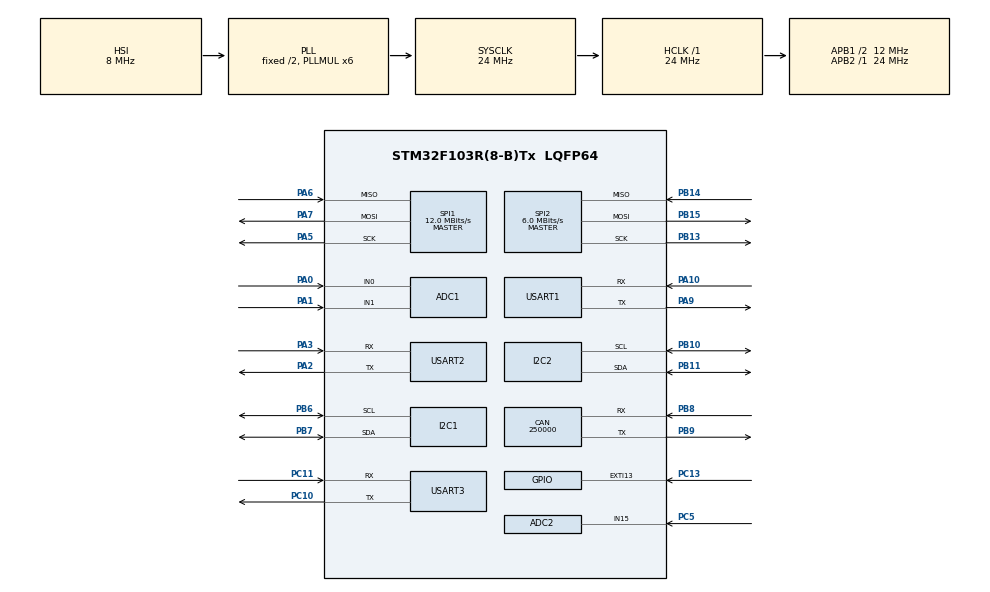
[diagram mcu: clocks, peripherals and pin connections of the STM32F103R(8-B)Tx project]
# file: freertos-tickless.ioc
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ADC1.Channel-0\#ChannelRegularConversion=ADC_CHANNEL_0
ADC1.ContinuousConvMode=DISABLE
ADC1.EnableAnalogWatchDog=false
ADC1.NbrOfConversion=1
ADC1.NbrOfConversionFlag=1
ADC1.Rank-0\#ChannelRegularConversion=1
ADC1.SamplingTime-0\#ChannelRegularConversion=ADC_SAMPLETIME_7CYCLES_5
ADC1.master=1
ADC2.Channel-0\#ChannelRegularConversion=ADC_CHANNEL_15
ADC2.ContinuousConvMode=ENABLE
ADC2.NbrOfConversionFlag=1
ADC2.Rank-0\#ChannelRegularConversion=1
ADC2.SamplingTime-0\#ChannelRegularConversion=ADC_SAMPLETIME_1CYCLE_5
CAN.CalculateBaudRate=250000
CAN.CalculateTimeBit=4000
CAN.CalculateTimeQuantum=1333.3333333333333
FREERTOS.Tasks01=defaultTask,0,128,StartDefaultTask,Default,NULL,Dynamic,NULL,NULL
FREERTOS.configUSE_NEWLIB_REENTRANT=1
FREERTOS.configUSE_TICKLESS_IDLE=1
Mcu.Family=STM32F1
Mcu.Name=STM32F103R(8-B)Tx
Mcu.Package=LQFP64
NVIC.EXTI15_10_IRQn=true\:5\:0\:false\:false\:true\:true\:true\:true\:true
NVIC.PriorityGroup=NVIC_PRIORITYGROUP_4
NVIC.TIM4_IRQn=true\:15\:0\:false\:false\:true\:false\:false\:true\:true
NVIC.TimeBase=TIM4_IRQn
NVIC.TimeBaseIP=TIM4
PA0-WKUP.Signal=ADCx_IN0
PA1.Signal=ADCx_IN1
PA10.Mode=Asynchronous
PA10.Signal=USART1_RX
PA13.GPIO_Label=TMS
PA13.Mode=Serial_Wire
PA13.Signal=SYS_JTMS-SWDIO
PA14.GPIO_Label=TCK
PA14.Mode=Serial_Wire
PA14.Signal=SYS_JTCK-SWCLK
PA2.Mode=Asynchronous
PA2.Signal=USART2_TX
PA3.Mode=Asynchronous
PA3.Signal=USART2_RX
PA5.Mode=Full_Duplex_Master
PA5.Signal=SPI1_SCK
PA6.Mode=Full_Duplex_Master
PA6.Signal=SPI1_MISO
PA7.Mode=Full_Duplex_Master
PA7.Signal=SPI1_MOSI
PA9.Mode=Asynchronous
PA9.Signal=USART1_TX
PB10.Mode=I2C
PB10.Signal=I2C2_SCL
PB11.Mode=I2C
PB11.Signal=I2C2_SDA
PB13.Mode=Full_Duplex_Master
PB13.Signal=SPI2_SCK
PB14.Mode=Full_Duplex_Master
PB14.Signal=SPI2_MISO
PB15.Mode=Full_Duplex_Master
PB15.Signal=SPI2_MOSI
PB3.GPIO_Label=SWO
PB3.Signal=SYS_JTDO-TRACESWO
PB6.Mode=I2C
PB6.Signal=I2C1_SCL
PB7.Mode=I2C
PB7.Signal=I2C1_SDA
PB8.Mode=CAN_Activate
PB8.Signal=CAN_RX
PB9.Mode=CAN_Activate
PB9.Signal=CAN_TX
PC10.Mode=Asynchronous
PC10.Signal=USART3_TX
PC11.Mode=Asynchronous
PC11.Signal=USART3_RX
PC13-TAMPER-RTC.Signal=GPXTI13
PC14-OSC32_IN.Mode=LSE-External-Oscillator
PC14-OSC32_IN.Signal=RCC_OSC32_IN
PC15-OSC32_OUT.Mode=LSE-External-Oscillator
PC15-OSC32_OUT.Signal=RCC_OSC32_OUT
PC5.Signal=ADCx_IN15
PD0-OSC_IN.Mode=HSE-External-Clock-Source
PD0-OSC_IN.Signal=RCC_OSC_IN
PD1-OSC_OUT.Mode=HSE-External-Clock-Source
PD1-OSC_OUT.Signal=RCC_OSC_OUT
ProjectManager.HeapSize=0x200
ProjectManager.StackSize=0x400
ProjectManager.TargetToolchain=STM32CubeIDE
RCC.AHBFreq_Value=24000000
RCC.APB1CLKDivider=RCC_HCLK_DIV2
RCC.APB1Freq_Value=12000000
RCC.APB1TimFreq_Value=24000000
RCC.APB2Freq_Value=24000000
RCC.APB2TimFreq_Value=24000000
RCC.HCLKFreq_Value=24000000
RCC.PLLMUL=RCC_PLL_MUL6
RCC.RTCClockSelection=RCC_RTCCLKSOURCE_LSE
RCC.SYSCLKFreq_VALUE=24000000
RCC.SYSCLKSource=RCC_SYSCLKSOURCE_PLLCLK
RCC.USBFreq_Value=24000000
SH.ADCx_IN0.0=ADC1_IN0,IN0
SH.ADCx_IN1.0=ADC1_IN1,IN1
SH.ADCx_IN15.0=ADC2_IN15,IN15
SPI1.CalculateBaudRate=12.0 MBits/s
SPI1.Direction=SPI_DIRECTION_2LINES
SPI1.Mode=SPI_MODE_MASTER
SPI1.VirtualType=VM_MASTER
SPI2.CalculateBaudRate=6.0 MBits/s
SPI2.Direction=SPI_DIRECTION_2LINES
SPI2.Mode=SPI_MODE_MASTER
SPI2.VirtualType=VM_MASTER
TIM1.AutoReloadPreload=TIM_AUTORELOAD_PRELOAD_ENABLE
TIM2.AutoReloadPreload=TIM_AUTORELOAD_PRELOAD_ENABLE
TIM3.AutoReloadPreload=TIM_AUTORELOAD_PRELOAD_ENABLE
USART1.VirtualMode=VM_ASYNC
USART2.VirtualMode=VM_ASYNC
USART3.VirtualMode=VM_ASYNC
VP_FREERTOS_VS_CMSIS_V1.Mode=CMSIS_V1
VP_SYS_VS_tim4.Mode=TIM4
VP_TIM1_VS_ClockSourceINT.Mode=Internal
VP_TIM2_VS_ClockSourceINT.Mode=Internal
VP_TIM3_VS_ClockSourceINT.Mode=Internal
board=NUCLEO-F103RB

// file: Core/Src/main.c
/* USER CODE BEGIN Header */
/**
  ******************************************************************************
  * @file           : main.c
  * @brief          : Main program body
  ******************************************************************************
  * @attention
  *
  * Copyright (c) 2024 STMicroelectronics.
  * All rights reserved.
  *
  * This software is licensed under terms that can be found in the LICENSE file
  * in the root directory of this software component.
  * If no LICENSE file comes with this software, it is provided AS-IS.
  *
  ******************************************************************************
  */

/* USER CODE END Header */
#include "main.h"
#include "cmsis_os.h"

/* USER CODE BEGIN Includes */
#include <stdio.h>
#include <string.h>
/* USER CODE END Includes */

ADC_HandleTypeDef hadc1;
ADC_HandleTypeDef hadc2;

CAN_HandleTypeDef hcan;

I2C_HandleTypeDef hi2c1;
I2C_HandleTypeDef hi2c2;

SPI_HandleTypeDef hspi1;
SPI_HandleTypeDef hspi2;

TIM_HandleTypeDef htim1;
TIM_HandleTypeDef htim2;
TIM_HandleTypeDef htim3;

UART_HandleTypeDef huart1;
UART_HandleTypeDef huart2;
UART_HandleTypeDef huart3;

osThreadId defaultTaskHandle;

void SystemClock_Config(void);
static void MX_GPIO_Init(void);
static void MX_USART1_UART_Init(void);
static void MX_ADC1_Init(void);
static void MX_ADC2_Init(void);
static void MX_CAN_Init(void);
static void MX_I2C1_Init(void);
static void MX_I2C2_Init(void);
static void MX_SPI1_Init(void);
static void MX_SPI2_Init(void);
static void MX_TIM1_Init(void);
static void MX_TIM2_Init(void);
static void MX_TIM3_Init(void);
static void MX_USART2_UART_Init(void);
static void MX_USART3_UART_Init(void);
void StartDefaultTask(void const * argument);

/* USER CODE BEGIN PFP */
#ifdef __GNUC__
#define PUTCHAR_PROTOTYPE int __io_putchar(int ch)
#else
#define PUTCHAR_PROTOTYPE int fputc(int ch, FILE *f)
#endif

PUTCHAR_PROTOTYPE
{
  HAL_UART_Transmit(&huart1, (uint8_t *)&ch, 1, HAL_MAX_DELAY);
  return ch;
}

/* USER CODE END PFP */

/* USER CODE BEGIN 0 */

uint16_t source_V_q;
uint16_t mcu_V_q;
uint16_t shunt_resistor_V_q;
uint16_t shunt_resistor_mV;
uint16_t mcu_mV;

uint16_t circuit_mA;

uint16_t mcu_mW;
uint16_t shunt_resistor_uW;

char UART1_rxBuffer[3] = {0};
const uint32_t CLI_timeout_ms = 100*1000;
const uint32_t delay_in_test_for_ms = 10*1000;
const uint32_t time_per_periph_ms = 5* 1000;

void HAL_GPIO_EXTI_Callback(uint16_t GPIO_Pin)
{
  HAL_ResumeTick();
}

/**
  * @brief Select ADC1 channel function
  * @param None
  * @retval None
  */
void select_adc_channel(int channel)
{
    ADC_ChannelConfTypeDef sConfig = {0};
    //sConfig.SamplingTime = ADC_SAMPLETIME_15CYCLES;
    sConfig.SamplingTime = ADC_SAMPLETIME_7CYCLES_5;
    switch (channel)
    {
        case 0:
            sConfig.Channel = ADC_CHANNEL_0;
              sConfig.Rank = 1;

              if (HAL_ADC_ConfigChannel(&hadc1, &sConfig) != HAL_OK)
              {
                Error_Handler();
              }
              break;

        case 1:
              /** Configure for the selected ADC regular channel its corresponding rank in the sequencer and its sample time.
              */
              sConfig.Channel = ADC_CHANNEL_1;
              sConfig.Rank = 1;
              if (HAL_ADC_ConfigChannel(&hadc1, &sConfig) != HAL_OK)
              {
                Error_Handler();
              }
              break;
              /** Configure for the selected ADC regular channel its corresponding rank in the sequencer and its sample time.
              */
        case 2:
              sConfig.Channel = ADC_CHANNEL_2;
              sConfig.Rank = 1;
              if (HAL_ADC_ConfigChannel(&hadc1, &sConfig) != HAL_OK)
              {
                Error_Handler();
              }
              break;
              /** Configure for the selected ADC regular channel its corresponding rank in the sequencer and its sample time.
              */
        case 3:
              sConfig.Channel = ADC_CHANNEL_3;
              sConfig.Rank = 1;
              if (HAL_ADC_ConfigChannel(&hadc1, &sConfig) != HAL_OK)
              {
                Error_Handler();
              }
              break;
              /** Configure for the selected ADC regular channel its corresponding rank in the sequencer and its sample time.
              */
        case 4:
              sConfig.Channel = ADC_CHANNEL_4;
              sConfig.Rank = 1;
              if (HAL_ADC_ConfigChannel(&hadc1, &sConfig) != HAL_OK)
              {
                Error_Handler();
              }
              break;
              /** Configure for the selected ADC regular channel its corresponding rank in the sequencer and its sample time.
              */
        case 5:
              sConfig.Channel = ADC_CHANNEL_5;
              sConfig.Rank = 1;
              if (HAL_ADC_ConfigChannel(&hadc1, &sConfig) != HAL_OK)
              {
                Error_Handler();
              }
              break;
              /** Configure for the selected ADC regular channel its corresponding rank in the sequencer and its sample time.
              */
        case 6:
              sConfig.Channel = ADC_CHANNEL_6;
              sConfig.Rank = 1;
              if (HAL_ADC_ConfigChannel(&hadc1, &sConfig) != HAL_OK)
              {
                Error_Handler();
              }
              break;
              /** Configure for the selected ADC regular channel its corresponding rank in the sequencer and its sample time.
              */
        case 7:
              sConfig.Channel = ADC_CHANNEL_7;
              sConfig.Rank = 1;
              if (HAL_ADC_ConfigChannel(&hadc1, &sConfig) != HAL_OK)
              {
                Error_Handler();
              }
              break;
              /** Configure for the selected ADC regular channel its corresponding rank in the sequencer and its sample time.
              */
        case 8:
              sConfig.Channel = ADC_CHANNEL_8;
              sConfig.Rank = 9;
              if (HAL_ADC_ConfigChannel(&hadc1, &sConfig) != HAL_OK)
              {
                Error_Handler();
              }
              break;
              /** Configure for the selected ADC regular channel its corresponding rank in the sequencer and its sample time.
              */
        case 9:
              sConfig.Channel = ADC_CHANNEL_9;
              sConfig.Rank = 1;
              if (HAL_ADC_ConfigChannel(&hadc1, &sConfig) != HAL_OK)
              {
                Error_Handler();
              }
              break;
              /** Configure for the selected ADC regular channel its corresponding rank in the sequencer and its sample time.
              */
        case 10:
              sConfig.Channel = ADC_CHANNEL_10;
              sConfig.Rank = 1;
              if (HAL_ADC_ConfigChannel(&hadc1, &sConfig) != HAL_OK)
              {
                Error_Handler();
              }
              break;
              /** Configure for the selected ADC regular channel its corresponding rank in the sequencer and its sample time.
              */
        case 11:
              sConfig.Channel = ADC_CHANNEL_11;
              sConfig.Rank = 1;
              if (HAL_ADC_ConfigChannel(&hadc1, &sConfig) != HAL_OK)
              {
                Error_Handler();
              }
              break;
              /** Configure for the selected ADC regular channel its corresponding rank in the sequencer and its sample time.
              */
        case 12:
              sConfig.Channel = ADC_CHANNEL_12;
              sConfig.Rank = 1;
              if (HAL_ADC_ConfigChannel(&hadc1, &sConfig) != HAL_OK)
              {
                Error_Handler();
              }
              break;
              /** Configure for the selected ADC regular channel its corresponding rank in the sequencer and its sample time.
              */
        case 13:
              sConfig.Channel = ADC_CHANNEL_13;
              sConfig.Rank = 1;
              if (HAL_ADC_ConfigChannel(&hadc1, &sConfig) != HAL_OK)
              {
                Error_Handler();
              }
              break;
              /** Configure for the selected ADC regular channel its corresponding rank in the sequencer and its sample time.
              */
        case 14:
              sConfig.Channel = ADC_CHANNEL_14;
              sConfig.Rank = 1;
              if (HAL_ADC_ConfigChannel(&hadc1, &sConfig) != HAL_OK)
              {
                Error_Handler();
              }
              break;
        case 15:
              sConfig.Channel = ADC_CHANNEL_15;
              sConfig.Rank = 1;
              if (HAL_ADC_ConfigChannel(&hadc1, &sConfig) != HAL_OK)
              {
                Error_Handler();
              }
              break;
        default:
            break;
    }
}

void print_pwr(void) {

	  printf("-------------------------------\r\n");
	  for (uint16_t i = 0; i < 2; i++) {

			  select_adc_channel(i);
			  // Get each ADC value from the group (2 channels in this case)
			  HAL_ADC_Start(&hadc1);
			  // Wait for regular group conversion to be completed
			  HAL_ADC_PollForConversion(&hadc1, HAL_MAX_DELAY);

			  if (i == 0) {
				  source_V_q = HAL_ADC_GetValue(&hadc1);
				  printf("Quantized Source Voltage [%u] value: %u [unitless]\r\n", (uint16_t) i, (uint16_t) source_V_q);
			  } else if (i == 1) {
				  mcu_V_q = HAL_ADC_GetValue(&hadc1);
				  printf("Quantized MCU Voltage [%u] value: %u [unitless]\r\n", (uint16_t) i, (uint16_t) mcu_V_q);
			  }
		  }

		  shunt_resistor_V_q = source_V_q - mcu_V_q;
		  shunt_resistor_mV = (uint16_t) (((float) (shunt_resistor_V_q * 1000)) / 4095.0) * 3.3;
		  mcu_mV = (uint16_t) (((float) (mcu_V_q * 1000)) / 4095.0) * 3.3;

		  printf("shunt resistor voltage: %u [mV]\r\n", shunt_resistor_mV);
		  printf("mcu voltage: %u [mV]\r\n", mcu_mV);

		  // since 1 ohm (assumed constant) shunt resistor
		  // I = V / R
		  // I = V
		  circuit_mA = shunt_resistor_mV;
		  printf("Circuit current: %u [mA]\r\n", circuit_mA);

		  mcu_mW = circuit_mA * (mcu_mV / 1000);

		  shunt_resistor_uW = circuit_mA * (shunt_resistor_mV);

		  printf("shunt resistor power: %u [uW]\r\n", shunt_resistor_uW);
		  printf("mcu power: %u [mW]\r\n", mcu_mW);

}

void print_help(void) {
	printf("Help: \r\n");
	printf("    max : power consumption test enabling all clocks and peripherals\r\n");
	printf("    typ : power consumption test for this program: USART1, ADC1, TIM3\r\n");
	printf("    min : power consumption test all peripherals disabled (except TIM4), only CPU enabled CANNOT GATHER INFO IN THIS MODE\r\n");
	printf("    pwr : free-running print of power readings\r\n");
	printf("    ver : print version info\r\n");
	printf("    hel : this message\r\n");
	printf("    sle : enter sleep mode\r\n");
	printf("    sto : enter stop mode\r\n");
	printf("    sta : enter standby mode\r\n");

}

void print_version(void) {
	printf("Version: REV B April 1th, 2024\r\n");
}

// power consumption test enabling all clocks and peripherals
void test_max(void) {
	printf("Entering typical test mode, ensure external power meter connected. Each periph will delay for %lu ms\r\n", time_per_periph_ms);

	MX_GPIO_Init();
	printf("GPIO INIT\r\n");
	HAL_Delay(time_per_periph_ms);

	MX_USART1_UART_Init();
	printf("USART1 INIT\r\n");
	HAL_Delay(time_per_periph_ms);

	MX_ADC1_Init();
	printf("ADC1 INIT\r\n");
	HAL_Delay(time_per_periph_ms);

	MX_ADC2_Init();
	printf("ADC2 INIT\r\n");
	HAL_Delay(time_per_periph_ms);

	MX_CAN_Init();
	printf("CANBUS INIT\r\n");
	HAL_Delay(time_per_periph_ms);

	MX_I2C1_Init();
	printf("I2C1 INIT\r\n");
	HAL_Delay(time_per_periph_ms);

	MX_I2C2_Init();
	printf("I2C2 INIT\r\n");
	HAL_Delay(time_per_periph_ms);

	MX_SPI1_Init();
	printf("SPI1 INIT\r\n");
	HAL_Delay(time_per_periph_ms);

	MX_SPI2_Init();
	printf("SPI2 INIT\r\n");
	HAL_Delay(time_per_periph_ms);

	MX_TIM1_Init();
	printf("TIM1 INIT\r\n");
	HAL_Delay(time_per_periph_ms);

	MX_TIM2_Init();
	printf("TIM2 INIT\r\n");
	HAL_Delay(time_per_periph_ms);

	MX_TIM3_Init();
	printf("TIM3 INIT\r\n");
	HAL_Delay(time_per_periph_ms);

	MX_USART2_UART_Init();
	printf("USART2 INIT\r\n");
	HAL_Delay(time_per_periph_ms);

	MX_USART3_UART_Init();
	printf("USART3 INIT\r\n");
	HAL_Delay(time_per_periph_ms);

	printf("DeINIT non typical periph\r\n");
	HAL_Delay(time_per_periph_ms);

	HAL_ADC_DeInit(&hadc2);
	HAL_CAN_DeInit(&hcan);
	HAL_I2C_DeInit(&hi2c1);
	HAL_I2C_DeInit(&hi2c2);
	HAL_SPI_DeInit(&hspi1);
	HAL_SPI_DeInit(&hspi2);
	HAL_TIM_Base_DeInit(&htim1);
	HAL_TIM_Base_DeInit(&htim2);
	HAL_TIM_Base_DeInit(&htim3);
	HAL_UART_DeInit(&huart2);
	HAL_UART_DeInit(&huart3);

	printf("Max Test Done\r\n");
}

// power consumption test for this program: USART1, ADC1, TIM3
void test_typ(void) {
	printf("Entering typical test mode, ensure external power meter connected. Each periph will delay for %lu ms\r\n", time_per_periph_ms);
	HAL_Delay(time_per_periph_ms);

	printf("Typical Test Done\r\n");

}

// power consumption test all peripherals disabled, only CPU enabled
void test_min(void) {
	printf("Entering typical minimum mode, ensure external power meter connected. Will auto exit in %lu ms\r\n", delay_in_test_for_ms);
	HAL_Delay(delay_in_test_for_ms);

	HAL_UART_DeInit(&huart1);
	// printf's wont work..
	HAL_Delay(delay_in_test_for_ms);

	HAL_ADC_DeInit(&hadc1);
	HAL_Delay(10*1000);

	MX_GPIO_Init();
	MX_USART1_UART_Init();
	MX_ADC1_Init();

	printf("Minimum Test Done\r\n");

}

void test_pwr(void) {
	printf("Entering free-running power mode, press `q` three times quickly to exit\r\n");
	while (1) {

		print_pwr();
		HAL_UART_Receive (&huart1, (uint8_t*) UART1_rxBuffer, 3, 2000);

		if (strcmp(UART1_rxBuffer, "qqq") == 0) {
			printf("Exiting `pwr` mode\r\n");
			return;

		}
	}

}

// sleep mode implementation details from:
// https://controllerstech.com/low-power-modes-in-stm32/
void test_sleep(void) {
	printf("Entering sleep mode, press blue user button to awake. \r\n\r\n");

	// since the HAL uses TIM4 interrupt for its timebase, disable so we dont wake
	HAL_SuspendTick();

	// enter sleep
	HAL_PWR_EnterSLEEPMode(PWR_MAINREGULATOR_ON, PWR_SLEEPENTRY_WFI);

	// Any interrupt from NVIC will awake MCU, we use EXTI on blue button
	// After servicing that ISR, which re-enabled the HAL tick, we resume here where we left off

	printf("Awoke from sleep\r\n");

}

void test_stop(void) {
	printf("Entering stop mode, press blue user button to awake. \r\n\r\n");

	// since the HAL uses TIM4 interrupt for its timebase, disable so we dont wake
	HAL_SuspendTick();

	// enter stop
	HAL_PWR_EnterSTOPMode(PWR_LOWPOWERREGULATOR_ON, PWR_STOPENTRY_WFI);
	// Any interrupt from NVIC will awake MCU, we use EXTI on blue button
	// After servicing that ISR, which re-enabled the HAL tick, we resume here where we left off

	// Must reconfigure system clocks as they were disabled
	SystemClock_Config();

	printf("Awoke from sleep\r\n");

}

void test_standby(void) {
	printf("Entering standby mode, WKUP pin rising edge, RTC alarm, tamper event, NRST, or IWDG used to reset MCU. \r\n\r\n");

	// since the HAL uses TIM4 interrupt for its timebase, disable so we dont wake
	HAL_SuspendTick();

	/* Clear the WU FLAG */
	__HAL_PWR_CLEAR_FLAG(PWR_FLAG_WU);

	 // consider RTC or wakeup pin config if desired

	// enter standby
	// there is no recovery, think of standby as `shutdown` on a computer. The `wakeup` is a cpu reset
	HAL_PWR_EnterSTANDBYMode();

}
// CLI commands
// max, typ, min, pwr
void read_cli(void) {
	for (uint8_t i = 0; i < 3; i++) {
		UART1_rxBuffer[0] = 0;
	}
	// need to type the command in the timeout
	while(HAL_UART_Receive (&huart1, (uint8_t*) UART1_rxBuffer, 3, CLI_timeout_ms) != HAL_OK);
	printf("Your command: %s\r\n", UART1_rxBuffer);

	if (strcmp(UART1_rxBuffer, "max") == 0) {
		test_max();

	}

	if (strcmp(UART1_rxBuffer, "typ") == 0) {
		test_typ();
	}

	if (strcmp(UART1_rxBuffer, "min") == 0) {
		test_min();

	}

	if (strcmp(UART1_rxBuffer, "pwr") == 0) {
		test_pwr();

	}

	if (strcmp(UART1_rxBuffer, "ver") == 0) {
		print_version();

	}

	if (strcmp(UART1_rxBuffer, "hel") == 0) {
		print_help();

	}

	if (strcmp(UART1_rxBuffer, "sle") == 0) {
		test_sleep();

	}

	if (strcmp(UART1_rxBuffer, "sto") == 0) {
		test_stop();

	}

	if (strcmp(UART1_rxBuffer, "sta") == 0) {
		test_standby();

	}

}

/* USER CODE END 0 */

int main(void)
{
  /* USER CODE BEGIN 1 */
/**
  * @brief The power metering application entry point
  * Text editor settings are maintained by the IDE
  * Development Enviroment: maintained by the IDE
  * Compiler: gcc (Ubuntu 11.4.0-1ubuntu1~22.04) 11.4.0
  * Options: Viewable in File->Preferences->C/C++ Build->Settings
  * Libraries: CMSIS Driver, stm32cube HAL
  * CPU Config: nothing special
  * Version Control: recommended to checkout latest commit in master or latest stable release.
  * @retval int
  */
  /* USER CODE END 1 */

  /* MCU Configuration--------------------------------------------------------*/

  /* Reset of all peripherals, Initializes the Flash interface and the Systick. */
  HAL_Init();

  /* Configure the system clock */
  SystemClock_Config();

  /* Initialize all configured peripherals */
  MX_GPIO_Init();
  MX_USART1_UART_Init();
  MX_ADC1_Init();
  MX_ADC2_Init();
  MX_CAN_Init();
  MX_I2C1_Init();
  MX_I2C2_Init();
  MX_SPI1_Init();
  MX_SPI2_Init();
  MX_TIM1_Init();
  MX_TIM2_Init();
  MX_TIM3_Init();
  MX_USART2_UART_Init();
  MX_USART3_UART_Init();
  /* USER CODE BEGIN 2 */

  // above autogenerated code should not be modified, it will be overwritten on changes
  // for consistency, disable the non-typical periphrials
  HAL_ADC_DeInit(&hadc2);
  HAL_CAN_DeInit(&hcan);
  HAL_I2C_DeInit(&hi2c1);
  HAL_I2C_DeInit(&hi2c2);
  HAL_SPI_DeInit(&hspi1);
  HAL_SPI_DeInit(&hspi2);
  HAL_TIM_Base_DeInit(&htim1);
  HAL_TIM_Base_DeInit(&htim2);
  HAL_TIM_Base_DeInit(&htim3);
  HAL_UART_DeInit(&huart2);
  HAL_UART_DeInit(&huart3);

  // display firmware version+build info
  printf("REV B April 1th, 2024\r\n\r\n");
  printf("Power Consumption CLI\r\n");

  /* USER CODE END 2 */

  /* Create the thread(s) */
  /* definition and creation of defaultTask */
  osThreadDef(defaultTask, StartDefaultTask, osPriorityNormal, 0, 128);
  defaultTaskHandle = osThreadCreate(osThread(defaultTask), NULL);

  /* Start scheduler */
  osKernelStart();

  /* We should never get here as control is now taken by the scheduler */
  /* Infinite loop */
  /* USER CODE BEGIN WHILE */

  // should not get here
  while (1)
  {
    /* USER CODE END WHILE */

  }
}

void SystemClock_Config(void)
{
  RCC_OscInitTypeDef RCC_OscInitStruct = {0};
  RCC_ClkInitTypeDef RCC_ClkInitStruct = {0};
  RCC_PeriphCLKInitTypeDef PeriphClkInit = {0};

  /** Initializes the RCC Oscillators according to the specified parameters
  * in the RCC_OscInitTypeDef structure.
  */
  RCC_OscInitStruct.OscillatorType = RCC_OSCILLATORTYPE_HSI;
  RCC_OscInitStruct.HSIState = RCC_HSI_ON;
  RCC_OscInitStruct.HSICalibrationValue = RCC_HSICALIBRATION_DEFAULT;
  RCC_OscInitStruct.PLL.PLLState = RCC_PLL_ON;
  RCC_OscInitStruct.PLL.PLLSource = RCC_PLLSOURCE_HSI_DIV2;
  RCC_OscInitStruct.PLL.PLLMUL = RCC_PLL_MUL6;
  if (HAL_RCC_OscConfig(&RCC_OscInitStruct) != HAL_OK)
  {
    Error_Handler();
  }

  /** Initializes the CPU, AHB and APB buses clocks
  */
  RCC_ClkInitStruct.ClockType = RCC_CLOCKTYPE_HCLK|RCC_CLOCKTYPE_SYSCLK
                              |RCC_CLOCKTYPE_PCLK1|RCC_CLOCKTYPE_PCLK2;
  RCC_ClkInitStruct.SYSCLKSource = RCC_SYSCLKSOURCE_PLLCLK;
  RCC_ClkInitStruct.AHBCLKDivider = RCC_SYSCLK_DIV1;
  RCC_ClkInitStruct.APB1CLKDivider = RCC_HCLK_DIV2;
  RCC_ClkInitStruct.APB2CLKDivider = RCC_HCLK_DIV1;

  if (HAL_RCC_ClockConfig(&RCC_ClkInitStruct, FLASH_LATENCY_0) != HAL_OK)
  {
    Error_Handler();
  }
  PeriphClkInit.PeriphClockSelection = RCC_PERIPHCLK_ADC;
  PeriphClkInit.AdcClockSelection = RCC_ADCPCLK2_DIV2;
  if (HAL_RCCEx_PeriphCLKConfig(&PeriphClkInit) != HAL_OK)
  {
    Error_Handler();
  }
}

static void MX_ADC1_Init(void)
{

  ADC_ChannelConfTypeDef sConfig = {0};

  /** Common config
  */
  hadc1.Instance = ADC1;
  hadc1.Init.ScanConvMode = ADC_SCAN_DISABLE;
  hadc1.Init.ContinuousConvMode = DISABLE;
  hadc1.Init.DiscontinuousConvMode = DISABLE;
  hadc1.Init.ExternalTrigConv = ADC_SOFTWARE_START;
  hadc1.Init.DataAlign = ADC_DATAALIGN_RIGHT;
  hadc1.Init.NbrOfConversion = 1;
  if (HAL_ADC_Init(&hadc1) != HAL_OK)
  {
    Error_Handler();
  }

  /** Configure Regular Channel
  */
  sConfig.Channel = ADC_CHANNEL_0;
  sConfig.Rank = ADC_REGULAR_RANK_1;
  sConfig.SamplingTime = ADC_SAMPLETIME_7CYCLES_5;
  if (HAL_ADC_ConfigChannel(&hadc1, &sConfig) != HAL_OK)
  {
    Error_Handler();
  }

}

static void MX_ADC2_Init(void)
{

  ADC_ChannelConfTypeDef sConfig = {0};

  /** Common config
  */
  hadc2.Instance = ADC2;
  hadc2.Init.ScanConvMode = ADC_SCAN_DISABLE;
  hadc2.Init.ContinuousConvMode = ENABLE;
  hadc2.Init.DiscontinuousConvMode = DISABLE;
  hadc2.Init.ExternalTrigConv = ADC_SOFTWARE_START;
  hadc2.Init.DataAlign = ADC_DATAALIGN_RIGHT;
  hadc2.Init.NbrOfConversion = 1;
  if (HAL_ADC_Init(&hadc2) != HAL_OK)
  {
    Error_Handler();
  }

  /** Configure Regular Channel
  */
  sConfig.Channel = ADC_CHANNEL_15;
  sConfig.Rank = ADC_REGULAR_RANK_1;
  sConfig.SamplingTime = ADC_SAMPLETIME_1CYCLE_5;
  if (HAL_ADC_ConfigChannel(&hadc2, &sConfig) != HAL_OK)
  {
    Error_Handler();
  }

}

static void MX_CAN_Init(void)
{

  hcan.Instance = CAN1;
  hcan.Init.Prescaler = 16;
  hcan.Init.Mode = CAN_MODE_NORMAL;
  hcan.Init.SyncJumpWidth = CAN_SJW_1TQ;
  hcan.Init.TimeSeg1 = CAN_BS1_1TQ;
  hcan.Init.TimeSeg2 = CAN_BS2_1TQ;
  hcan.Init.TimeTriggeredMode = DISABLE;
  hcan.Init.AutoBusOff = DISABLE;
  hcan.Init.AutoWakeUp = DISABLE;
  hcan.Init.AutoRetransmission = DISABLE;
  hcan.Init.ReceiveFifoLocked = DISABLE;
  hcan.Init.TransmitFifoPriority = DISABLE;
  if (HAL_CAN_Init(&hcan) != HAL_OK)
  {
    Error_Handler();
  }

}

static void MX_I2C1_Init(void)
{

  hi2c1.Instance = I2C1;
  hi2c1.Init.ClockSpeed = 100000;
  hi2c1.Init.DutyCycle = I2C_DUTYCYCLE_2;
  hi2c1.Init.OwnAddress1 = 0;
  hi2c1.Init.AddressingMode = I2C_ADDRESSINGMODE_7BIT;
  hi2c1.Init.DualAddressMode = I2C_DUALADDRESS_DISABLE;
  hi2c1.Init.OwnAddress2 = 0;
  hi2c1.Init.GeneralCallMode = I2C_GENERALCALL_DISABLE;
  hi2c1.Init.NoStretchMode = I2C_NOSTRETCH_DISABLE;
  if (HAL_I2C_Init(&hi2c1) != HAL_OK)
  {
    Error_Handler();
  }

}

static void MX_I2C2_Init(void)
{

  hi2c2.Instance = I2C2;
  hi2c2.Init.ClockSpeed = 100000;
  hi2c2.Init.DutyCycle = I2C_DUTYCYCLE_2;
  hi2c2.Init.OwnAddress1 = 0;
  hi2c2.Init.AddressingMode = I2C_ADDRESSINGMODE_7BIT;
  hi2c2.Init.DualAddressMode = I2C_DUALADDRESS_DISABLE;
  hi2c2.Init.OwnAddress2 = 0;
  hi2c2.Init.GeneralCallMode = I2C_GENERALCALL_DISABLE;
  hi2c2.Init.NoStretchMode = I2C_NOSTRETCH_DISABLE;
  if (HAL_I2C_Init(&hi2c2) != HAL_OK)
  {
    Error_Handler();
  }

}

static void MX_SPI1_Init(void)
{

  /* SPI1 parameter configuration*/
  hspi1.Instance = SPI1;
  hspi1.Init.Mode = SPI_MODE_MASTER;
  hspi1.Init.Direction = SPI_DIRECTION_2LINES;
  hspi1.Init.DataSize = SPI_DATASIZE_8BIT;
  hspi1.Init.CLKPolarity = SPI_POLARITY_LOW;
  hspi1.Init.CLKPhase = SPI_PHASE_1EDGE;
  hspi1.Init.NSS = SPI_NSS_SOFT;
  hspi1.Init.BaudRatePrescaler = SPI_BAUDRATEPRESCALER_2;
  hspi1.Init.FirstBit = SPI_FIRSTBIT_MSB;
  hspi1.Init.TIMode = SPI_TIMODE_DISABLE;
  hspi1.Init.CRCCalculation = SPI_CRCCALCULATION_DISABLE;
  hspi1.Init.CRCPolynomial = 10;
  if (HAL_SPI_Init(&hspi1) != HAL_OK)
  {
    Error_Handler();
  }

}

static void MX_SPI2_Init(void)
{

  /* SPI2 parameter configuration*/
  hspi2.Instance = SPI2;
  hspi2.Init.Mode = SPI_MODE_MASTER;
  hspi2.Init.Direction = SPI_DIRECTION_2LINES;
  hspi2.Init.DataSize = SPI_DATASIZE_8BIT;
  hspi2.Init.CLKPolarity = SPI_POLARITY_LOW;
  hspi2.Init.CLKPhase = SPI_PHASE_1EDGE;
  hspi2.Init.NSS = SPI_NSS_SOFT;
  hspi2.Init.BaudRatePrescaler = SPI_BAUDRATEPRESCALER_2;
  hspi2.Init.FirstBit = SPI_FIRSTBIT_MSB;
  hspi2.Init.TIMode = SPI_TIMODE_DISABLE;
  hspi2.Init.CRCCalculation = SPI_CRCCALCULATION_DISABLE;
  hspi2.Init.CRCPolynomial = 10;
  if (HAL_SPI_Init(&hspi2) != HAL_OK)
  {
    Error_Handler();
  }

}

static void MX_TIM1_Init(void)
{

  TIM_ClockConfigTypeDef sClockSourceConfig = {0};
  TIM_MasterConfigTypeDef sMasterConfig = {0};

  htim1.Instance = TIM1;
  htim1.Init.Prescaler = 0;
  htim1.Init.CounterMode = TIM_COUNTERMODE_UP;
  htim1.Init.Period = 65535;
  htim1.Init.ClockDivision = TIM_CLOCKDIVISION_DIV1;
  htim1.Init.RepetitionCounter = 0;
  htim1.Init.AutoReloadPreload = TIM_AUTORELOAD_PRELOAD_ENABLE;
  if (HAL_TIM_Base_Init(&htim1) != HAL_OK)
  {
    Error_Handler();
  }
  sClockSourceConfig.ClockSource = TIM_CLOCKSOURCE_INTERNAL;
  if (HAL_TIM_ConfigClockSource(&htim1, &sClockSourceConfig) != HAL_OK)
  {
    Error_Handler();
  }
  sMasterConfig.MasterOutputTrigger = TIM_TRGO_RESET;
  sMasterConfig.MasterSlaveMode = TIM_MASTERSLAVEMODE_DISABLE;
  if (HAL_TIMEx_MasterConfigSynchronization(&htim1, &sMasterConfig) != HAL_OK)
  {
    Error_Handler();
  }

}

static void MX_TIM2_Init(void)
{

  TIM_ClockConfigTypeDef sClockSourceConfig = {0};
  TIM_MasterConfigTypeDef sMasterConfig = {0};

  htim2.Instance = TIM2;
  htim2.Init.Prescaler = 0;
  htim2.Init.CounterMode = TIM_COUNTERMODE_UP;
  htim2.Init.Period = 65535;
  htim2.Init.ClockDivision = TIM_CLOCKDIVISION_DIV1;
  htim2.Init.AutoReloadPreload = TIM_AUTORELOAD_PRELOAD_ENABLE;
  if (HAL_TIM_Base_Init(&htim2) != HAL_OK)
  {
    Error_Handler();
  }
  sClockSourceConfig.ClockSource = TIM_CLOCKSOURCE_INTERNAL;
  if (HAL_TIM_ConfigClockSource(&htim2, &sClockSourceConfig) != HAL_OK)
  {
    Error_Handler();
  }
  sMasterConfig.MasterOutputTrigger = TIM_TRGO_RESET;
  sMasterConfig.MasterSlaveMode = TIM_MASTERSLAVEMODE_DISABLE;
  if (HAL_TIMEx_MasterConfigSynchronization(&htim2, &sMasterConfig) != HAL_OK)
  {
    Error_Handler();
  }

}

static void MX_TIM3_Init(void)
{

  TIM_ClockConfigTypeDef sClockSourceConfig = {0};
  TIM_MasterConfigTypeDef sMasterConfig = {0};

  htim3.Instance = TIM3;
  htim3.Init.Prescaler = 0;
  htim3.Init.CounterMode = TIM_COUNTERMODE_UP;
  htim3.Init.Period = 65535;
  htim3.Init.ClockDivision = TIM_CLOCKDIVISION_DIV1;
  htim3.Init.AutoReloadPreload = TIM_AUTORELOAD_PRELOAD_ENABLE;
  if (HAL_TIM_Base_Init(&htim3) != HAL_OK)
  {
    Error_Handler();
  }
  sClockSourceConfig.ClockSource = TIM_CLOCKSOURCE_INTERNAL;
  if (HAL_TIM_ConfigClockSource(&htim3, &sClockSourceConfig) != HAL_OK)
  {
    Error_Handler();
  }
  sMasterConfig.MasterOutputTrigger = TIM_TRGO_RESET;
  sMasterConfig.MasterSlaveMode = TIM_MASTERSLAVEMODE_DISABLE;
  if (HAL_TIMEx_MasterConfigSynchronization(&htim3, &sMasterConfig) != HAL_OK)
  {
    Error_Handler();
  }

}

static void MX_USART1_UART_Init(void)
{

  huart1.Instance = USART1;
  huart1.Init.BaudRate = 115200;
  huart1.Init.WordLength = UART_WORDLENGTH_8B;
  huart1.Init.StopBits = UART_STOPBITS_1;
  huart1.Init.Parity = UART_PARITY_NONE;
  huart1.Init.Mode = UART_MODE_TX_RX;
  huart1.Init.HwFlowCtl = UART_HWCONTROL_NONE;
  huart1.Init.OverSampling = UART_OVERSAMPLING_16;
  if (HAL_UART_Init(&huart1) != HAL_OK)
  {
    Error_Handler();
  }

}

static void MX_USART2_UART_Init(void)
{

  huart2.Instance = USART2;
  huart2.Init.BaudRate = 115200;
  huart2.Init.WordLength = UART_WORDLENGTH_8B;
  huart2.Init.StopBits = UART_STOPBITS_1;
  huart2.Init.Parity = UART_PARITY_NONE;
  huart2.Init.Mode = UART_MODE_TX_RX;
  huart2.Init.HwFlowCtl = UART_HWCONTROL_NONE;
  huart2.Init.OverSampling = UART_OVERSAMPLING_16;
  if (HAL_UART_Init(&huart2) != HAL_OK)
  {
    Error_Handler();
  }

}

static void MX_USART3_UART_Init(void)
{

  huart3.Instance = USART3;
  huart3.Init.BaudRate = 115200;
  huart3.Init.WordLength = UART_WORDLENGTH_8B;
  huart3.Init.StopBits = UART_STOPBITS_1;
  huart3.Init.Parity = UART_PARITY_NONE;
  huart3.Init.Mode = UART_MODE_TX_RX;
  huart3.Init.HwFlowCtl = UART_HWCONTROL_NONE;
  huart3.Init.OverSampling = UART_OVERSAMPLING_16;
  if (HAL_UART_Init(&huart3) != HAL_OK)
  {
    Error_Handler();
  }

}

static void MX_GPIO_Init(void)
{
  GPIO_InitTypeDef GPIO_InitStruct = {0};

  /* GPIO Ports Clock Enable */
  __HAL_RCC_GPIOC_CLK_ENABLE();
  __HAL_RCC_GPIOD_CLK_ENABLE();
  __HAL_RCC_GPIOA_CLK_ENABLE();
  __HAL_RCC_GPIOB_CLK_ENABLE();

  /*Configure GPIO pin : PC13 */
  GPIO_InitStruct.Pin = GPIO_PIN_13;
  GPIO_InitStruct.Mode = GPIO_MODE_IT_RISING;
  GPIO_InitStruct.Pull = GPIO_NOPULL;
  HAL_GPIO_Init(GPIOC, &GPIO_InitStruct);

  /* EXTI interrupt init*/
  HAL_NVIC_SetPriority(EXTI15_10_IRQn, 5, 0);
  HAL_NVIC_EnableIRQ(EXTI15_10_IRQn);

}

void StartDefaultTask(void const * argument)
{
  /* USER CODE BEGIN 5 */
  /* Infinite loop */
  for(;;)
  {
	  read_cli();

  }
  /* USER CODE END 5 */
}

void HAL_TIM_PeriodElapsedCallback(TIM_HandleTypeDef *htim)
{
  if (htim->Instance == TIM4) {
    HAL_IncTick();
  }
}

void Error_Handler(void)
{
  /* USER CODE BEGIN Error_Handler_Debug */
  /* User can add his own implementation to report the HAL error return state */
  __disable_irq();
  while (1)
  {
	  printf("Bricked");
	  HAL_Delay(1000);
  }
  /* USER CODE END Error_Handler_Debug */
}

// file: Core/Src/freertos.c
/* USER CODE BEGIN Header */
/**
  ******************************************************************************
  * File Name          : freertos.c
  * Description        : Code for freertos applications
  ******************************************************************************
  * @attention
  *
  * Copyright (c) 2024 STMicroelectronics.
  * All rights reserved.
  *
  * This software is licensed under terms that can be found in the LICENSE file
  * in the root directory of this software component.
  * If no LICENSE file comes with this software, it is provided AS-IS.
  *
  ******************************************************************************
  */
/* USER CODE END Header */

#include "FreeRTOS.h"
#include "task.h"
#include "main.h"

/* GetIdleTaskMemory prototype (linked to static allocation support) */
void vApplicationGetIdleTaskMemory( StaticTask_t **ppxIdleTaskTCBBuffer, StackType_t **ppxIdleTaskStackBuffer, uint32_t *pulIdleTaskStackSize );

/* USER CODE BEGIN PREPOSTSLEEP */
__weak void PreSleepProcessing(uint32_t *ulExpectedIdleTime)
{
/* place for user code */
}

__weak void PostSleepProcessing(uint32_t *ulExpectedIdleTime)
{
/* place for user code */
}
/* USER CODE END PREPOSTSLEEP */

/* USER CODE BEGIN GET_IDLE_TASK_MEMORY */
static StaticTask_t xIdleTaskTCBBuffer;
static StackType_t xIdleStack[configMINIMAL_STACK_SIZE];

void vApplicationGetIdleTaskMemory( StaticTask_t **ppxIdleTaskTCBBuffer, StackType_t **ppxIdleTaskStackBuffer, uint32_t *pulIdleTaskStackSize )
{
  *ppxIdleTaskTCBBuffer = &xIdleTaskTCBBuffer;
  *ppxIdleTaskStackBuffer = &xIdleStack[0];
  *pulIdleTaskStackSize = configMINIMAL_STACK_SIZE;
  /* place for user code */
}
/* USER CODE END GET_IDLE_TASK_MEMORY */
